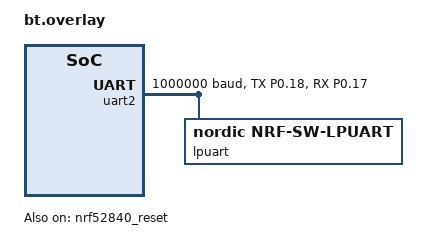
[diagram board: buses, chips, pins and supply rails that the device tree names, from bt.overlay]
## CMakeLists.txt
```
#
# Copyright (c) 2020 Nordic Semiconductor
#
# SPDX-License-Identifier: LicenseRef-Nordic-5-Clause
#

cmake_minimum_required(VERSION 3.20.0)

find_package(Zephyr REQUIRED HINTS $ENV{ZEPHYR_BASE})
project(MOSH)
target_include_directories(app PRIVATE
  ${CMAKE_CURRENT_SOURCE_DIR}/src
  ${CMAKE_CURRENT_SOURCE_DIR}/utils)

target_sources(app PRIVATE src/main.c)

add_subdirectory(src/print)
add_subdirectory(src/utils)
add_subdirectory(src/at)
add_subdirectory_ifdef(CONFIG_MOSH_NRF91_NON_OFFLOADING_DEV src/drivers)
add_subdirectory_ifdef(CONFIG_NRF_MODEM_LIB_TRACE src/modem_trace)
add_subdirectory(src/cloud)
#add_subdirectory(src/fota)
add_subdirectory(src/mesh)

zephyr_include_directories_ifdef(CONFIG_MEMFAULT config)

if(NOT ENV{PROJECT_NAME})
  zephyr_compile_definitions(
    PROJECT_NAME=${CMAKE_PROJECT_NAME}
  )
endif()
```

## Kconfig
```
#
# Copyright (c) 2020 Nordic Semiconductor ASA
#
# SPDX-License-Identifier: LicenseRef-Nordic-5-Clause
#

source "Kconfig.zephyr"

menu "Nordic Modem Shell config"

config MOSH_AT_CMD_MODE
	bool "Specific AT command mode"
	default y

config MOSH_PRINT_BUFFER_SIZE
	int "Buffer size used when printing modem shell output"
	default 1024
	help
	  If the printed string exceeds this buffer, an error message is printed first and
	  then the requested string cut into the length of this buffer.

config MOSH_COMMON_WORKQUEUE_STACK_SIZE
	int "Common workqueue stack size"
	default 7168

config MOSH_COMMON_WORKQUEUE_PRIORITY
	int "Common workqueue priority"
	default 5

if MOSH_AT_CMD_MODE
choice
	prompt "Command termination"
	default MOSH_AT_CMD_MODE_CR_LF_TERMINATION
	help
		Sets the command termination ending from the serial terminal
		Levels are:
		-  NULL Termination
		-  CR Termination
		-  LF Termination
		-  CR+LF Termination
	config MOSH_AT_CMD_MODE_NULL_TERMINATION
		bool "NULL Termination"
	config MOSH_AT_CMD_MODE_CR_TERMINATION
		bool "CR Termination"
	config MOSH_AT_CMD_MODE_LF_TERMINATION
		bool "LF Termination"
	config MOSH_AT_CMD_MODE_CR_LF_TERMINATION
		bool "CR+LF Termination"
endchoice
config MOSH_AT_CMD_MODE_TERMINATION
	int
	default 0 if MOSH_AT_CMD_MODE_NULL_TERMINATION
	default 1 if MOSH_AT_CMD_MODE_CR_TERMINATION
	default 2 if MOSH_AT_CMD_MODE_LF_TERMINATION
	default 3 if MOSH_AT_CMD_MODE_CR_LF_TERMINATION
endif

# For power measurement purposes, activate low power mode for asynchronous UARTs.
if UART_0_ASYNC

config UART_0_NRF_ASYNC_LOW_POWER
	bool "Low power mode"
	default y

endif # UART_0_ASYNC

if UART_1_ASYNC

config UART_1_NRF_ASYNC_LOW_POWER
	bool "Low power mode"
	default y

endif # UART_1_ASYNC

endmenu # Modem Shell
```

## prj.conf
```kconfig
#
# Copyright (c) 2020 Nordic Semiconductor ASA
#
# SPDX-License-Identifier: LicenseRef-Nordic-5-Clause
#
# General config

# Stacks and heaps
CONFIG_MAIN_STACK_SIZE=4096
CONFIG_HEAP_MEM_POOL_SIZE=8192

# System queue is used e.g. by AT monitor and SMS lib
CONFIG_SYSTEM_WORKQUEUE_STACK_SIZE=2048

# Shell configurations
CONFIG_SHELL=y
CONFIG_SHELL_WILDCARD=n
CONFIG_SHELL_PROMPT_UART="mosh:~$ "
CONFIG_SHELL_ARGC_MAX=40
# -h and --help options are handled in Modem Shell
CONFIG_SHELL_HELP_OPT_PARSE=n
# Command line buffer is set this large to enable writing of certificates and injecting A-GNSS data on command line.
CONFIG_SHELL_CMD_BUFF_SIZE=3584
# Shell stack has impact for modem shell application, not CONFIG_MAIN_STACK_SIZE
CONFIG_SHELL_STACK_SIZE=9216
# Shell RX buffer needs to be increased to avoid problems with test automation
CONFIG_SHELL_BACKEND_SERIAL_RX_RING_BUFFER_SIZE=512
CONFIG_SHELL_BACKEND_SERIAL_API_INTERRUPT_DRIVEN=y
# LTE shell is unnecessary with Modem Shell
CONFIG_LTE_SHELL=n
# Enable use of vsnprintfcb() for extending mosh_print() format
CONFIG_CBPRINTF_LIBC_SUBSTS=y

CONFIG_MINIMAL_LIBC=n
CONFIG_NEWLIB_LIBC=y
CONFIG_NEWLIB_LIBC_FLOAT_SCANF=n
CONFIG_NEWLIB_LIBC_FLOAT_PRINTF=y
CONFIG_FPU=y
CONFIG_CJSON_LIB=y

# Getopt
CONFIG_GETOPT_LIB=y
# Need to disable devmem shell since it enforces Zephyr's internal version of getopt
CONFIG_DEVMEM_SHELL=n

# Device power management
CONFIG_PM_DEVICE=y

# Modem info
CONFIG_MODEM_INFO=y

# Modem key management
CONFIG_MODEM_KEY_MGMT=y

# Network
CONFIG_NETWORKING=y
CONFIG_NET_NATIVE=n
CONFIG_NET_SOCKETS=y
CONFIG_NET_SOCKETS_OFFLOAD=y
CONFIG_NET_SOCKETS_POSIX_NAMES=n
# Native IPv6 is enabled by default, disable it because we don't need it
CONFIG_NET_IPV6=n

CONFIG_POSIX_API=y
CONFIG_PTHREAD_IPC=n # There are issues with posix api if this is set
CONFIG_POSIX_MAX_FDS=10
# Need to be the same as MAX_FDS
CONFIG_NET_SOCKETS_POLL_MAX=10

# Modem library
CONFIG_NRF_MODEM_LIB=y
CONFIG_NRF_MODEM_LIB_SHMEM_TX_SIZE=22528
CONFIG_NRF_MODEM_LIB_SHMEM_RX_SIZE=8192
CONFIG_NRF_MODEM_LIB_ON_FAULT_APPLICATION_SPECIFIC=y

# AT monitor library
CONFIG_AT_MONITOR=y

# Increase AT monitor heap because %NCELLMEAS notifications can be long.
# Note: with legacy NCELLMEAS types, 512 is enough, but with GCI search types
# it could be even longer: theoretical maximum of 4020 bytes.
CONFIG_AT_MONITOR_HEAP_SIZE=1024

# PDN library
#CONFIG_PDN=y
#CONFIG_PDN_ESM_STRERROR=y

# LTE link control
CONFIG_LTE_LINK_CONTROL=y
# Use modem system mode setting by default.
CONFIG_LTE_NETWORK_MODE_DEFAULT=y

CONFIG_LTE_NETWORK_USE_FALLBACK=n

#MOSH is having own commands to enable these at runtime:
CONFIG_LTE_LC_MODEM_SLEEP_NOTIFICATIONS=n
CONFIG_LTE_LC_TAU_PRE_WARNING_NOTIFICATIONS=n

#Minimum values for thresholds:
CONFIG_LTE_LC_TAU_PRE_WARNING_THRESHOLD_MS=10240
CONFIG_LTE_LC_MODEM_SLEEP_NOTIFICATIONS_THRESHOLD_MS=10240

CONFIG_DATE_TIME=n

# nRF Cloud A-GNSS, disable this in case you want to enable SUPL below
CONFIG_NRF_CLOUD_AGNSS=y

# Cellular positioning
CONFIG_LTE_NEIGHBOR_CELLS_MAX=17

# Library for buttons and LEDs
CONFIG_DK_LIBRARY=y

# FOTA
CONFIG_FLASH=y
CONFIG_REBOOT=y
CONFIG_DFU_TARGET=y
CONFIG_FOTA_DOWNLOAD=y
CONFIG_DOWNLOAD_CLIENT=y
CONFIG_BOOTLOADER_MCUBOOT=y
CONFIG_IMG_MANAGER=y
CONFIG_IMG_ERASE_PROGRESSIVELY=y

# Settings
CONFIG_FLASH=y
CONFIG_FLASH_SHELL=n
CONFIG_FLASH_MAP=y
CONFIG_MPU_ALLOW_FLASH_WRITE=y
CONFIG_NVS=y
CONFIG_SETTINGS=y
CONFIG_SETTINGS_NVS=y
CONFIG_NVS_LOG_LEVEL_WRN=y

# Debugging configurations
CONFIG_ASSERT=y
CONFIG_LOG=y
# Keep printk() synchronous
CONFIG_LOG_PRINTK=n
CONFIG_DEBUG_INFO=y
#CONFIG_DEBUG_OPTIMIZATIONS=y
#CONFIG_NO_OPTIMIZATIONS=y
#CONFIG_FORCE_NO_ASSERT=y
CONFIG_ASSERT_VERBOSE=y
#CONFIG_ASSERT_LEVEL=2
#CONFIG_ASSERT_ON_ERRORS=y
#CONFIG_FAULT_DUMP=2
CONFIG_RESET_ON_FATAL_ERROR=n
CONFIG_EXTRA_EXCEPTION_INFO=y
#CONFIG_WATCHDOG=y
CONFIG_SYS_HEAP_RUNTIME_STATS=y
# Enable TF-M logging on UART0
CONFIG_TFM_SECURE_UART0=y
CONFIG_TFM_LOG_LEVEL_SILENCE=n
CONFIG_TFM_EXCEPTION_INFO_DUMP=y
CONFIG_TFM_SPM_LOG_LEVEL_DEBUG=y

# Modem Shell
CONFIG_NRF_CLOUD_MQTT=y

# Report standard information to shadow
CONFIG_NRF_CLOUD_SEND_DEVICE_STATUS=y
CONFIG_NRF_CLOUD_SEND_DEVICE_STATUS_NETWORK=y
CONFIG_NRF_CLOUD_SEND_DEVICE_STATUS_SIM=y

CONFIG_STREAM_FLASH=y
CONFIG_STREAM_FLASH_ERASE=y

CONFIG_SHELL_BACKEND_DUMMY=y

CONFIG_FOTA_CLIENT_AUTOSCHEDULE_UPDATE=n
CONFIG_NRF_CLOUD_FOTA_AUTO_START_JOB=n
CONFIG_DOWNLOAD_CLIENT_STACK_SIZE=2000

# Disable Modem traces
CONFIG_NRF_MODEM_LIB_TRACE=n
CONFIG_TFM_SECURE_UART1=n

#UART2 towards nRF52840
CONFIG_UART_INTERRUPT_DRIVEN=y
CONFIG_NRF_SW_LPUART=y
CONFIG_NRF_SW_LPUART_INT_DRIVEN=y
CONFIG_UART_2_ASYNC=y
CONFIG_UART_2_INTERRUPT_DRIVEN=n
CONFIG_UART_2_NRF_HW_ASYNC=y
CONFIG_UART_2_NRF_HW_ASYNC_TIMER=2

CONFIG_NRF_SW_LPUART_MAX_PACKET_SIZE=255
CONFIG_NRF_SW_LPUART_INT_DRV_TX_BUF_SIZE=255

CONFIG_BT=y
CONFIG_BT_DEVICE_NAME="mosh"
CONFIG_BT_DEVICE_NAME_DYNAMIC=n

CONFIG_BT_H4=y
CONFIG_BT_HCI=y
CONFIG_BT_WAIT_NOP=y

#CONFIG_BT_BROADCASTER=y
CONFIG_BT_OBSERVER=y

CONFIG_BT_PERIPHERAL=y
CONFIG_BT_BUF_EVT_RX_SIZE=255
CONFIG_BT_BUF_EVT_RX_COUNT=10
CONFIG_BT_BUF_EVT_DISCARDABLE_SIZE=58
CONFIG_BT_BUF_CMD_TX_SIZE=255

CONFIG_BT_HOST_CRYPTO=y
CONFIG_BT_HOST_CRYPTO_PRNG=y

CONFIG_BT_DEBUG_NONE=y
#CONFIG_BT_DEBUG_LOG=y
CONFIG_BT_LOG_LEVEL_OFF=y
#CONFIG_BT_DEBUG_HCI_CORE=y
#CONFIG_BT_SHELL=y

# Heap and stacks
CONFIG_SYSTEM_WORKQUEUE_STACK_SIZE=4096
CONFIG_MAIN_STACK_SIZE=8192

####################################################################################################
# Mesh Distributor config
####################################################################################################
# Mesh Distributor config

# Bluetooth configuration
CONFIG_BT_L2CAP_TX_BUF_COUNT=8
CONFIG_BT_SETTINGS=y
CONFIG_BT_ECC=n
#CONFIG_BT_TINYCRYPT_ECC=y

# Disable unused Bluetooth features
CONFIG_BT_CTLR_DUP_FILTER_LEN=0
CONFIG_BT_CTLR_LE_ENC=n
CONFIG_BT_DATA_LEN_UPDATE=n
CONFIG_BT_PHY_UPDATE=n
CONFIG_BT_CTLR_CHAN_SEL_2=n
CONFIG_BT_CTLR_PRIVACY=n
CONFIG_BT_CTLR_PHY_2M=n
CONFIG_BT_MESH=y
#
# Bluetooth mesh configuration
CONFIG_BT_MESH=y
CONFIG_BT_MESH_USES_TINYCRYPT=y
CONFIG_BT_MESH_RELAY=y
CONFIG_BT_MESH_MSG_CACHE_SIZE=256
CONFIG_BT_MESH_ADV_BUF_COUNT=128
CONFIG_BT_MESH_TX_SEG_MAX=10
CONFIG_BT_MESH_RX_SEG_MAX=10
CONFIG_BT_MESH_TX_SEG_MSG_COUNT=2
CONFIG_BT_MESH_RX_SEG_MSG_COUNT=2
CONFIG_BT_MESH_PB_GATT=y
CONFIG_BT_MESH_PB_ADV=y
CONFIG_BT_MESH_GATT_PROXY=y
CONFIG_BT_MESH_SHELL=y
CONFIG_BT_MESH_DK_PROV=y
CONFIG_BT_MESH_PROXY_USE_DEVICE_NAME=y

#CONFIG_BT_MESH_CDB=y
#CONFIG_BT_MESH_CFG_CLI=y

# Bluetooth mesh models
CONFIG_BT_MESH_BLOB_SRV=y
CONFIG_BT_MESH_BLOB_IO_FLASH=y
CONFIG_BT_MESH_BLOB_CLI=y
CONFIG_BT_MESH_DFU_SRV=y
CONFIG_BT_MESH_DFU_METADATA=y
CONFIG_BT_MESH_DFU_CLI=y
CONFIG_BT_MESH_DFD_SRV=y
CONFIG_BT_MESH_SAR_CFG_SRV=n
CONFIG_BT_MESH_DFU_METADATA_ON_BUILD=n

# Reconfigure transport SAR for DFU
# Increase probability of delivering segmented messages
CONFIG_BT_MESH_SAR_TX_UNICAST_RETRANS_COUNT=0x5
CONFIG_BT_MESH_SAR_TX_UNICAST_RETRANS_WITHOUT_PROG_COUNT=0x3
# Reduce amount of generated SegAcks
CONFIG_BT_MESH_SAR_RX_ACK_RETRANS_COUNT=0x0
CONFIG_BT_MESH_SAR_RX_ACK_DELAY_INC=0x7
CONFIG_BT_MESH_SAR_RX_SEG_INT_STEP=0xf
CONFIG_BT_MESH_SAR_RX_SEG_THRESHOLD=0x1f

# Debug configuration
CONFIG_BT_MESH_LOG_LEVEL_DBG=n
CONFIG_BT_MESH_MODEL_LOG_LEVEL_DBG=n
CONFIG_BT_MESH_DFU_LOG_LEVEL_DBG=n
CONFIG_BT_MESH_PROVISIONEE_LOG_LEVEL_INF=y

# Additional simultaneous connections for SMP BT.
#CONFIG_BT_MAX_CONN=2
#CONFIG_BT_CTLR_ADV_SET=3
#CONFIG_BT_EXT_ADV_MAX_ADV_SET=3

CONFIG_HWINFO=y

CONFIG_DEBUG_THREAD_INFO=y

CONFIG_LOG_BACKEND_UART=y
CONFIG_RESET_ON_FATAL_ERROR=n
```

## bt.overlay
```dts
/*
 * Copyright (c) 2022 Nordic Semiconductor ASA
 *
 * SPDX-License-Identifier: LicenseRef-Nordic-5-Clause
 */

/*#include <nrf9160dk_nrf52840_reset_on_if5.dtsi>*/

/ {
	chosen {
		zephyr,bt-uart=&lpuart;
	};
};

&gpiote {
	interrupts = <49 NRF_DEFAULT_IRQ_PRIORITY>;
};

&uart2 {
	current-speed = <1000000>;
	status = "okay";
	/delete-property/ rts-pin;
	/delete-property/ cts-pin;
	/delete-property/ hw-flow-control;

	pinctrl-0 = <&uart2_default_alt>;
	pinctrl-1 = <&uart2_sleep_alt>;
	lpuart: nrf-sw-lpuart {
		compatible = "nordic,nrf-sw-lpuart";
		status = "okay";
		req-pin = <21>; /* <&interface_to_nrf52840 3 0>; */
		rdy-pin = <19>; /* <&interface_to_nrf52840 2 0>; */
	};
};
&uart1 {
	status = "disabled";
};

&pinctrl {
	uart2_default_alt: uart2_default_alt {
		group1 {
			psels = <NRF_PSEL(UART_TX, 0, 18)>,
				<NRF_PSEL(UART_RX, 0, 17)>;
		};
	};

	uart2_sleep_alt: uart2_sleep_alt {
		group1 {
			psels = <NRF_PSEL(UART_TX, 0, 18)>,
				<NRF_PSEL(UART_RX, 0, 17)>;
			low-power-enable;
		};
	};
};

&nrf52840_reset {
 status = "okay";
 gpios = <&interface_to_nrf52840 9 (1 << 0)>;
};
```

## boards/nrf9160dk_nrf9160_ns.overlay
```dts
#include <nrf9160dk_nrf52840_reset_on_if5.dtsi>

/ {
	chosen {
		zephyr,bt-uart=&uart2;
	};
};

&gpiote {
	interrupts = <49 NRF_DEFAULT_IRQ_PRIORITY>;
};

&uart2 {
	current-speed = <1000000>;
	status = "okay";

	pinctrl-0 = <&uart2_default_alt>;
	pinctrl-1 = <&uart2_sleep_alt>;
};

&uart1 {
	status = "disabled";
};


&pinctrl {
	uart2_default_alt: uart2_default_alt {
		group1 {
			psels = <NRF_PSEL(UART_TX, 0, 18)>,
				<NRF_PSEL(UART_RX, 0, 17)>,
				<NRF_PSEL(UART_CTS, 0, 19)>,
				<NRF_PSEL(UART_RTS, 0, 21)>;
		};
	};

	uart2_sleep_alt: uart2_sleep_alt {
		group1 {
			psels = <NRF_PSEL(UART_TX, 0, 18)>,
				<NRF_PSEL(UART_RX, 0, 17)>,
				<NRF_PSEL(UART_CTS, 0, 19)>,
				<NRF_PSEL(UART_RTS, 0, 21)>;
			low-power-enable;
		};
	};

};

&nrf52840_reset {
 status = "okay";
 gpios = <&interface_to_nrf52840 9 (1 << 0)>;
};
```

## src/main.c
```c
/*
 * Copyright (c) 2020 Nordic Semiconductor ASA
 *
 * SPDX-License-Identifier: LicenseRef-Nordic-5-Clause
 */

#include <stdio.h>
#include <string.h>

#include <zephyr/kernel.h>
#include <zephyr/init.h>
#include <helpers/nrfx_reset_reason.h>
#include <nrf_modem.h>

#include <sys/types.h>
#include <zephyr/logging/log_ctrl.h>
#include <zephyr/sys/reboot.h>
#include <zephyr/dfu/mcuboot.h>

#include <zephyr/shell/shell.h>
#if defined(CONFIG_SHELL_BACKEND_SERIAL)
#include <zephyr/shell/shell_uart.h>
#else
#include <zephyr/shell/shell_rtt.h>
#endif

#include <modem/nrf_modem_lib.h>
#include <modem/at_monitor.h>
#include <modem/modem_info.h>
#include <modem/lte_lc.h>

#include <net/nrf_cloud_os.h>

#include <dk_buttons_and_leds.h>

#if defined(CONFIG_MOSH_FOTA)
#include "fota.h"
#endif
#include "mosh_defines.h"
#include "mosh_print.h"

#if defined(CONFIG_MOSH_AT_CMD_MODE)
#include "at_cmd_mode.h"
#include "at_cmd_mode_sett.h"
#endif

BUILD_ASSERT(IS_ENABLED(CONFIG_SHELL_BACKEND_SERIAL) || IS_ENABLED(CONFIG_SHELL_BACKEND_RTT),
	     "CONFIG_SHELL_BACKEND_SERIAL or CONFIG_SHELL_BACKEND_RTT shell backend must be "
	     "enabled");

/***** Work queue and work item definitions *****/

#define MOSH_COMMON_WORKQ_PRIORITY CONFIG_MOSH_COMMON_WORKQUEUE_PRIORITY
K_THREAD_STACK_DEFINE(mosh_common_workq_stack, CONFIG_MOSH_COMMON_WORKQUEUE_STACK_SIZE);
struct k_work_q mosh_common_work_q;

/* Global variables */
const struct shell *mosh_shell;
struct k_poll_signal mosh_signal;

char mosh_at_resp_buf[MOSH_AT_CMD_RESPONSE_MAX_LEN];
K_MUTEX_DEFINE(mosh_at_resp_buf_mutex);

static const char *modem_crash_reason_get(uint32_t reason)
{
	switch (reason) {
	case NRF_MODEM_FAULT_UNDEFINED:
		return "Undefined fault";

	case NRF_MODEM_FAULT_HW_WD_RESET:
		return "HW WD reset";

	case NRF_MODEM_FAULT_HARDFAULT:
		return "Hard fault";

	case NRF_MODEM_FAULT_MEM_MANAGE:
		return "Memory management fault";

	case NRF_MODEM_FAULT_BUS:
		return "Bus fault";

	case NRF_MODEM_FAULT_USAGE:
		return "Usage fault";

	case NRF_MODEM_FAULT_SECURE_RESET:
		return "Secure control reset";

	case NRF_MODEM_FAULT_PANIC_DOUBLE:
		return "Error handler crash";

	case NRF_MODEM_FAULT_PANIC_RESET_LOOP:
		return "Reset loop";

	case NRF_MODEM_FAULT_ASSERT:
		return "Assert";

	case NRF_MODEM_FAULT_PANIC:
		return "Unconditional SW reset";

	case NRF_MODEM_FAULT_FLASH_ERASE:
		return "Flash erase fault";

	case NRF_MODEM_FAULT_FLASH_WRITE:
		return "Flash write fault";

	case NRF_MODEM_FAULT_POFWARN:
		return "Undervoltage fault";

	case NRF_MODEM_FAULT_THWARN:
		return "Overtemperature fault";

	default:
		return "Unknown reason";
	}
}

void nrf_modem_fault_handler(struct nrf_modem_fault_info *fault_info)
{
	printk("Modem crash reason: 0x%x (%s), PC: 0x%x\n",
		fault_info->reason,
		modem_crash_reason_get(fault_info->reason),
		fault_info->program_counter);

	__ASSERT(false, "Modem crash detected, halting application execution");
}

static void reset_reason_str_get(char *str, uint32_t reason)
{
	size_t len;

	*str = '\0';

	if (reason & NRFX_RESET_REASON_RESETPIN_MASK) {
		(void)strcat(str, "PIN reset | ");
	}
	if (reason & NRFX_RESET_REASON_DOG_MASK) {
		(void)strcat(str, "watchdog | ");
	}
	if (reason & NRFX_RESET_REASON_OFF_MASK) {
		(void)strcat(str, "wakeup from power-off | ");
	}
	if (reason & NRFX_RESET_REASON_DIF_MASK) {
		(void)strcat(str, "debug interface wakeup | ");
	}
	if (reason & NRFX_RESET_REASON_SREQ_MASK) {
		(void)strcat(str, "software | ");
	}
	if (reason & NRFX_RESET_REASON_LOCKUP_MASK) {
		(void)strcat(str, "CPU lockup | ");
	}
	if (reason & NRFX_RESET_REASON_CTRLAP_MASK) {
		(void)strcat(str, "control access port | ");
	}

	len = strlen(str);
	if (len == 0) {
		(void)strcpy(str, "power-on reset");
	} else {
		str[len - 3] = '\0';
	}
}

static void mosh_print_reset_reason(void)
{
	uint32_t reset_reason;
	char reset_reason_str[128];

	/* Read RESETREAS register value and clear current reset reason(s). */
	reset_reason = nrfx_reset_reason_get();
	nrfx_reset_reason_clear(reset_reason);

	reset_reason_str_get(reset_reason_str, reset_reason);

	printk("\nReset reason: %s\n", reset_reason_str);
}

#if defined(CONFIG_DK_LIBRARY)
static void button_handler(uint32_t button_states, uint32_t has_changed)
{
	if (has_changed & button_states & DK_BTN1_MSK) {
		mosh_print("Button 1 pressed - raising a kill signal");
		k_poll_signal_raise(&mosh_signal, MOSH_SIGNAL_KILL);
	} else if (has_changed & ~button_states & DK_BTN1_MSK) {
		mosh_print("Button 1 released - resetting a kill signal");
		k_poll_signal_reset(&mosh_signal);
	}
}
#endif

extern int mesh_dfu_main(void (*bt_ready)(void));
extern int mesh_dfu_start(void);

static K_SEM_DEFINE(bt_ready_sem, 0, 1);

static void bt_ready(void)
{
	printk("bt_ready\n");
	k_sem_give(&bt_ready_sem);
}

int main(void)
{
	int err;
	struct k_work_queue_config cfg = {
		.name = "mosh_common_workq",
	};

#if defined(CONFIG_SHELL_BACKEND_SERIAL)
	mosh_shell = shell_backend_uart_get_ptr();
#else
	mosh_shell = shell_backend_rtt_get_ptr();
#endif

	__ASSERT(mosh_shell != NULL, "Failed to get shell backend");

	mosh_print_reset_reason();

	mosh_print_version_info();

#if defined(CONFIG_NRF_CLOUD_REST) || defined(CONFIG_NRF_CLOUD_MQTT)
#if defined(CONFIG_MOSH_IPERF3)
	/* Due to iperf3, we cannot let nrf cloud lib to initialize cJSON lib to be
	 * using kernel heap allocations (i.e. k_ prepending functions).
	 * Thus, we use standard c alloc/free, i.e. "system heap".
	 */
	struct nrf_cloud_os_mem_hooks hooks = {
		.malloc_fn = malloc,
		.calloc_fn = calloc,
		.free_fn = free,
	};
#else
	/* else: we default to Kernel heap */
	struct nrf_cloud_os_mem_hooks hooks = {
		.malloc_fn = k_malloc,
		.calloc_fn = k_calloc,
		.free_fn = k_free,
	};
#endif

	nrf_cloud_os_mem_hooks_init(&hooks);
#endif

	k_work_queue_start(
		&mosh_common_work_q,
		mosh_common_workq_stack,
		K_THREAD_STACK_SIZEOF(mosh_common_workq_stack),
		MOSH_COMMON_WORKQ_PRIORITY,
		&cfg);

	err = nrf_modem_lib_init();
	if (err) {
		/* Modem library initialization failed. */
		printk("Could not initialize nrf_modem_lib, err %d\n", err);
		printk("Fatal error\n");
		return 0;
	}

#if defined(CONFIG_MOSH_PPP)
	ppp_ctrl_init();
#endif
#if defined(CONFIG_MOSH_WORKER_THREADS)
	th_ctrl_init();
#endif
#if defined(CONFIG_MOSH_FOTA)
	err = fota_init();
	if (err) {
		printk("Could not initialize FOTA: %d\n", err);
	}
#endif

#if defined(CONFIG_MOSH_LOCATION)
	/* Location library should be initialized before LTE normal mode */
	location_ctrl_init();
#endif
#if defined(CONFIG_LTE_LINK_CONTROL) && defined(CONFIG_MOSH_LINK)
	link_init();
#else
	err = lte_lc_connect();
	if (err) {
		printk("Could not connect: %d\n", err);
	}
#endif

#if defined(CONFIG_MODEM_INFO)
	err = modem_info_init();
	if (err) {
		printk("Modem info could not be established: %d\n", err);
		return 0;
	}
#endif

#if defined(CONFIG_DK_LIBRARY)
	err = dk_buttons_init(button_handler);
	if (err) {
		printk("Failed to initialize DK buttons library, error: %d\n", err);
	}
	err = dk_leds_init();
	if (err) {
		printk("Cannot initialize LEDs (err: %d)\n", err);
	}
#endif

	mesh_dfu_main(bt_ready);

	/* Application started successfully, mark image as OK to prevent
	 * revert at next reboot.
	 */
#if defined(CONFIG_BOOTLOADER_MCUBOOT)
	boot_write_img_confirmed();
#endif
	k_poll_signal_init(&mosh_signal);

#if defined(CONFIG_SHELL_BACKEND_SERIAL)
	/* Resize terminal width and height of the shell to have proper command editing. */
	shell_execute_cmd(mosh_shell, "resize");
#endif

#if defined(CONFIG_MOSH_STARTUP_CMDS)
	startup_cmd_ctrl_init();
#endif

#if defined(CONFIG_MOSH_AT_CMD_MODE)
	at_cmd_mode_sett_init();
	if (at_cmd_mode_sett_is_autostart_enabled()) {
		/* Start directly in AT cmd mode */
		at_cmd_mode_start(mosh_shell);
	}
#endif

	err = k_sem_take(&bt_ready_sem, K_FOREVER);
	if (err) {
		printk("bt_ready_sem err: %d", err);
	}

	printk("loading settings\n");

	err = settings_load();
	if (err) {
		mosh_error("Cannot load settings %d", err);
		return err;
	}

	mesh_dfu_start();


	return 0;
}
```
